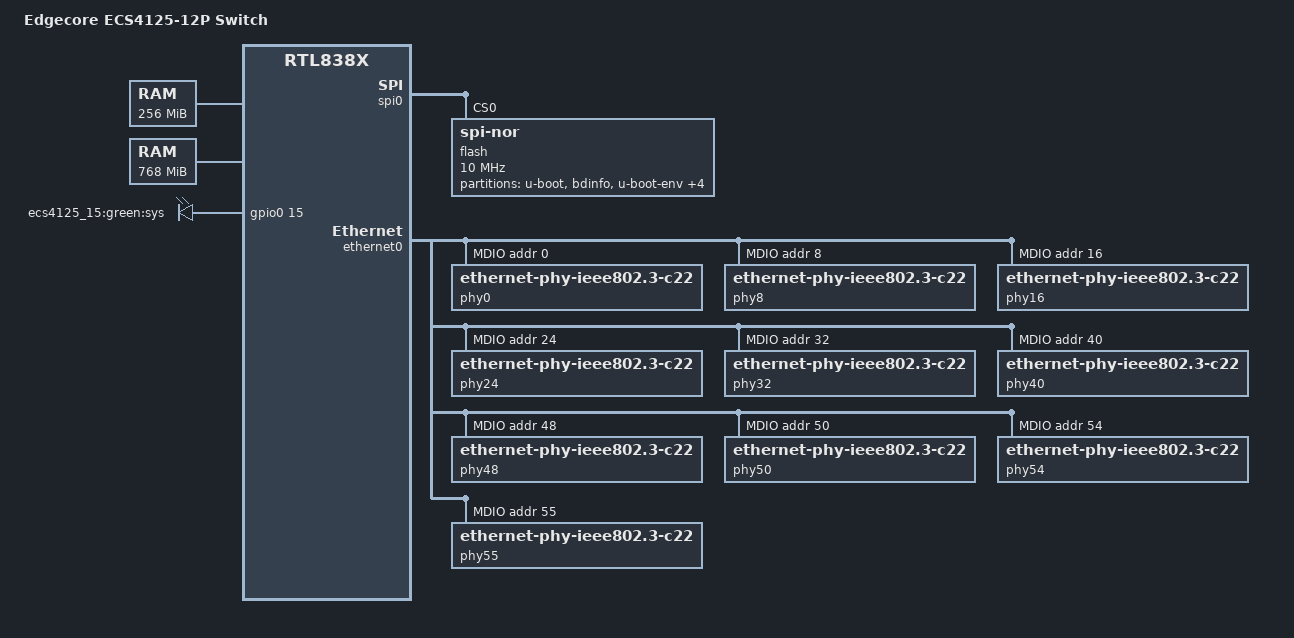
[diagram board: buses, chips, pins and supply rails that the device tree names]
/dts-v1/;

#include "rtl931x.dtsi"

#include <dt-bindings/input/input.h>
#include <dt-bindings/gpio/gpio.h>

/ {
	compatible = "edgecore,ecs4125-10p", "realtek,rtl838x-soc";
	model = "Edgecore ECS4125-12P Switch";

	aliases {
		led-boot = &led_sys;
		led-failsafe = &led_sys;
		led-running = &led_sys;
		led-upgrade = &led_sys;
	};	


	memory@0 {
		device_type = "memory";
		reg = <0x0 0x10000000>;
	};

	memory@90000000 {
		device_type = "memory";
		reg = <0x90000000 0x30000000>;
	};

	chosen {
		bootargs = "console=ttyS0,115200";
	};

	leds {
		compatible = "gpio-leds";

		led_sys: sys {
			label = "ecs4125_15:green:sys";
			gpios = <&gpio0 15 GPIO_ACTIVE_HIGH>;
		};
	};
};

&gpio0 {
	indirect-access-bus-id = <0>;
};

&spi0 {
	status = "okay";
	flash@0 {
		compatible = "jedec,spi-nor";
		reg = <0>;
		spi-max-frequency = <10000000>;

		partitions {
			compatible = "fixed-partitions";
			#address-cells = <1>;
			#size-cells = <1>;

			partition@0 {
				label = "u-boot";
				reg = <0x0 0xe0000>;
				read-only;
			};
			partition@100000 {
				label = "bdinfo";
				reg = <0x100000 0x10000>;
				read-only;
			};
			partition@110000 {
				label = "u-boot-env";
				reg = <0x110000 0x10000>;
				read-only;
			};
			partition@120000 {
				label = "jffs";
				reg = <0x120000 0x100000>;
			};
			partition@220000 {
				label = "jffs2";
				reg = <0x220000 0x100000>;
			};
			partition@320000 {
				label = "runtime";
				reg = <0x320000 0x1e80000>;
				compatible = "denx,uimage";
			};
			partition@2200000 {
				label = "runtime2";
				reg = <0x2200000 0x1e00000>;
			};
		};
	};
};

&ethernet0 {
	mdio: mdio-bus {
		compatible = "realtek,rtl838x-mdio";
		regmap = <&ethernet0>;
		#address-cells = <1>;
		#size-cells = <0>;
		
		/* External phy ARQ813 */
		phy0: ethernet-phy@0 {
			reg = <0>;
			compatible = "ethernet-phy-ieee802.3-c22";
			rtl9300,smi-address= <0 0>;
		};
		phy8: ethernet-phy@8 {
			reg = <8>;
			compatible = "ethernet-phy-ieee802.3-c22";
			rtl9300,smi-address= <0 1>;
		};
		phy16: ethernet-phy@16 {
			reg = <16>;
			compatible = "ethernet-phy-ieee802.3-c22";
			rtl9300,smi-address= <0 2>;
		};
		phy24: ethernet-phy@24 {
			reg = <24>;
			compatible = "ethernet-phy-ieee802.3-c22";
			rtl9300,smi-address= <0 3>;
		};
		phy32: ethernet-phy@32 {
			reg = <32>;
			compatible = "ethernet-phy-ieee802.3-c22";
			rtl9300,smi-address= <0 4>;
		};
		phy40: ethernet-phy@40 {
			reg = <40>;
			compatible = "ethernet-phy-ieee802.3-c22";
			rtl9300,smi-address= <0 5>;
		};
		phy48: ethernet-phy@48 {
			reg = <48>;
			compatible = "ethernet-phy-ieee802.3-c22";
			rtl9300,smi-address= <0 6>;
		};
		phy50: ethernet-phy@50 {
			reg = <50>;
			compatible = "ethernet-phy-ieee802.3-c22";
			rtl9300,smi-address= <0 7>;
		};

		/* RTL9313 Internal Serdes */
		phy54: ethernet-phy@54 {
			compatible = "ethernet-phy-ieee802.3-c22";
			phy-is-integrated;
			reg = <54>;
		};
		phy55: ethernet-phy@55 {
			compatible = "ethernet-phy-ieee802.3-c22";
			phy-is-integrated;
			reg = <55>;
		};

	};
};

&switch0 {
	ports {
		#address-cells = <1>;
		#size-cells = <0>;

		port@0 {
			reg = <0>;
			label = "lan1";
			phy-handle = <&phy0>;
			phy-mode = "qsgmii";
		};
		port@8 {
			reg = <8>;
			label = "lan2";
			phy-handle = <&phy8>;
			phy-mode = "qsgmii";
		};
		port@16 {
			reg = <16>;
			label = "lan3";
			phy-handle = <&phy16>;
			phy-mode = "qsgmii";
		};
		port@24 {
			reg = <24>;
			label = "lan4";
			phy-handle = <&phy24>;
			phy-mode = "qsgmii";
		};
		port@32 {
			reg = <32>;
			label = "lan5";
			phy-handle = <&phy32>;
			phy-mode = "qsgmii";
		};
		port@40 {
			reg = <40>;
			label = "lan6";
			phy-handle = <&phy40>;
			phy-mode = "qsgmii";
		};
		port@48 {
			reg = <48>;
			label = "lan7";
			phy-handle = <&phy48>;
			phy-mode = "qsgmii";
		};
		port@50 {
			reg = <50>;
			label = "lan8";
			phy-handle = <&phy50>;
			phy-mode = "qsgmii";
		};

		/* RTL9313 Internal SerDes */
		port@54 {
			reg = <54>;
			label = "lan54";
			phy-mode = "internal";
			phy-handle = <&phy54>;
		};
		port@55 {
			reg = <55>;
			label = "lan55";
			phy-mode = "internal";
			phy-handle = <&phy55>;
		};

		/* CPU-Port */
		port@56 {
			ethernet = <&ethernet0>;
			reg = <56>;
			phy-mode = "qsgmii";
			fixed-link {
				speed = <1000>;
				full-duplex;
			};
		};
	};
};
